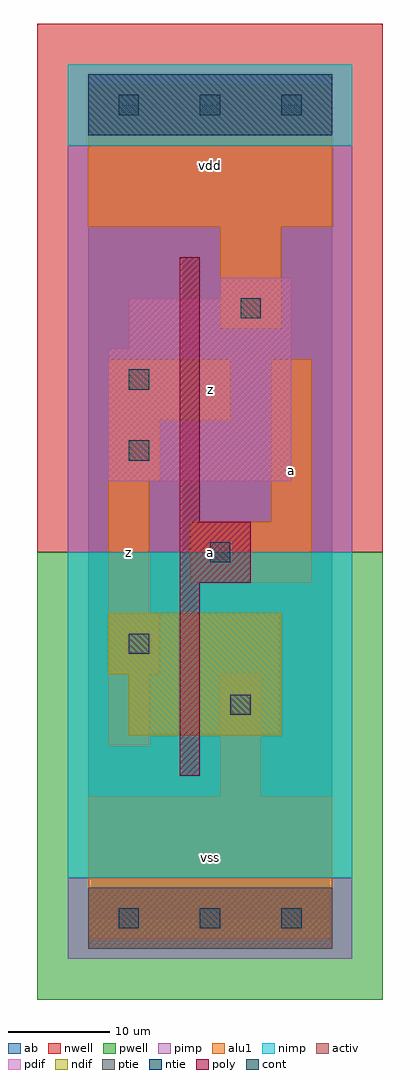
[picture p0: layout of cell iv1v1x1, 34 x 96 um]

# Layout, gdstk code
import gdstk
lib = gdstk.Library(unit=1e-6, precision=1e-09)
def R(c, l, rs):  # rectangles x0, y0, x1, y1
    for r in rs: c.add(gdstk.rectangle(r[:2], r[2:], *l))
def A(c, l, x, y, w, h, nx, ny, dx, dy):  # array of equal rectangles
    R(c, l, [(x+i*dx, y+j*dy, x+i*dx+w, y+j*dy+h) for i in range(nx) for j in range(ny)])
ndif = (3, 0)
pdif = (4, 0)
ntie = (5, 0)
ptie = (6, 0)
cont = (25, 0)
pwell = (41, 0)
nwell = (42, 0)
activ = (43, 0)
pimp = (44, 0)
nimp = (45, 0)
poly = (46, 0)
alu1 = (49, 0)
ab = (63, 0)

iv1v1x1 = lib.new_cell('iv1v1x1')
R(iv1v1x1, ndif, [(4,18,19,24), (2,24,19,30)])
R(iv1v1x1, pdif, [(2,43,20,56), (4,56,20,61), (13,61,20,63)])
R(iv1v1x1, ntie, [(0,77,24,83)])
R(iv1v1x1, ptie, [(0,-3,24,3)])
A(iv1v1x1, cont, 3, -1, 2, 2, 3, 2, 8, 80)
R(iv1v1x1, cont, [(14,20,16,22), (4,26,6,28), (12,35,14,37), (4,45,6,47), (4,52,6,54), (15,59,17,61)])
R(iv1v1x1, pwell, [(-5,-8,29,36)])
R(iv1v1x1, nwell, [(-5,36,29,88)])
R(iv1v1x1, activ, [(0,-3,24,3), (4,18,19,24), (2,24,19,30), (2,43,20,56), (4,56,20,61), (13,61,20,63), (0,77,24,83)])
R(iv1v1x1, pimp, [(-2,-4,26,4), (-2,36,26,76)])
R(iv1v1x1, nimp, [(-2,4,26,36), (-2,76,26,84)])
R(iv1v1x1, poly, [(9,14,11,33), (9,33,16,39), (9,39,11,65)])
R(iv1v1x1, alu1, [(0,-2,24,12), (13,12,17,24), (2,17,6,24), (2,24,7,30), (2,30,6,43), (10,33,22,39), (18,39,22,55), (2,43,7,49), (2,49,14,55), (13,58,19,68), (0,68,24,82)])
R(iv1v1x1, ab, [(0,0,24,80)])
iv1v1x1.add(gdstk.Label('z', (4,36), layer=49, texttype=0))
iv1v1x1.add(gdstk.Label('vss', (12,6), layer=49, texttype=0))
iv1v1x1.add(gdstk.Label('a', (12,36), layer=49, texttype=0))
iv1v1x1.add(gdstk.Label('z', (12,52), layer=49, texttype=0))
iv1v1x1.add(gdstk.Label('vdd', (12,74), layer=49, texttype=0))
iv1v1x1.add(gdstk.Label('a', (20,44), layer=49, texttype=0))

lib.write_gds('iv1v1x1.gds')
